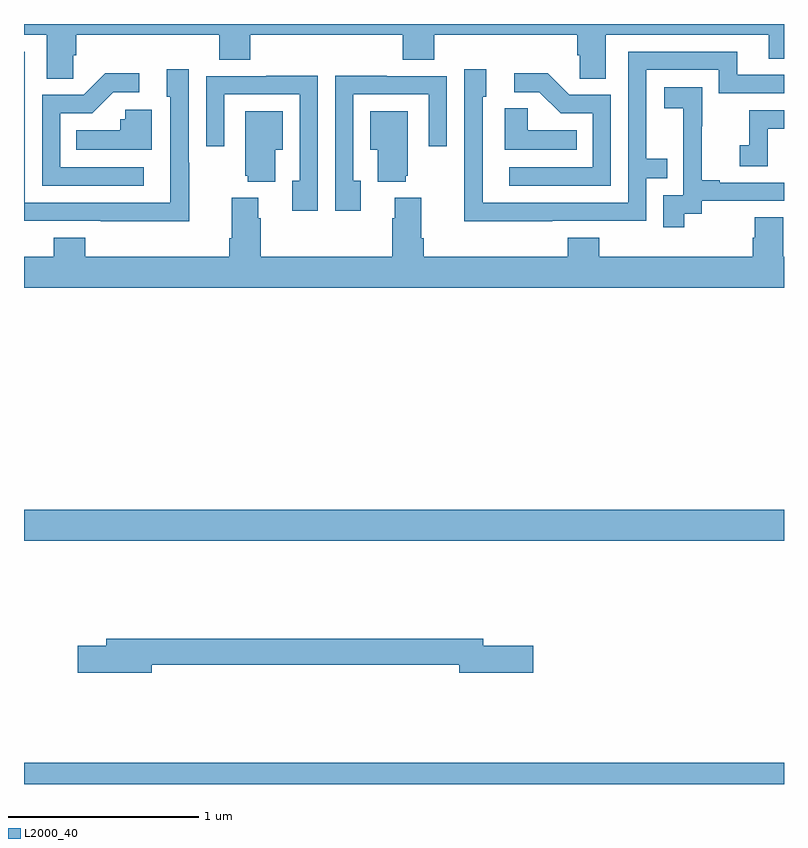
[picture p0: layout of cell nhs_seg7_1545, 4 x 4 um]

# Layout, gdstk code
import gdstk
lib = gdstk.Library(unit=1e-6, precision=1e-09)
def R(c, l, rs):  # rectangles x0, y0, x1, y1
    for r in rs: c.add(gdstk.rectangle(r[:2], r[2:], *l))
def P(c, l, *ps):  # polygons
    for p in ps: c.add(gdstk.Polygon(p, *l))
L2000_40 = (2000, 40)

nhs_seg7_1545 = lib.new_cell('nhs_seg7_1545')
R(nhs_seg7_1545, L2000_40, [(217,1002,221,1002.112), (217,1003.28,221,1003.444)])
P(nhs_seg7_1545, L2000_40, [(220.919,1005.817),(221,1005.817),(221,1006),(217,1006),(217,1005.944),(217.121,1005.944),(217.121,1005.712),(217.26,1005.712),(217.26,1005.835),(217.274,1005.835),(217.274,1005.944),(218.027,1005.944),(218.027,1005.811),(218.192,1005.811),(218.192,1005.944),(218.993,1005.944),(218.993,1005.811),(219.158,1005.811),(219.158,1005.944),(219.911,1005.944),(219.911,1005.835),(219.924,1005.835),(219.924,1005.712),(220.063,1005.712),(220.063,1005.944),(220.919,1005.944)],
  [(219.779,1004.964),(220.275,1004.964),(220.275,1005.189),(220.385,1005.189),(220.385,1005.29),(220.275,1005.29),(220.275,1005.759),(220.656,1005.759),(220.656,1005.636),(221,1005.636),(221,1005.732),(220.753,1005.732),(220.753,1005.855),(220.179,1005.855),(220.179,1005.06),(219.414,1005.06),(219.414,1005.618),(219.433,1005.618),(219.433,1005.763),(219.318,1005.763),(219.318,1005.269),(219.316,1005.269),(219.316,1004.963),(219.779,1004.963)],
  [(217.869,1005.269),(217.866,1005.269),(217.866,1005.763),(217.751,1005.763),(217.751,1005.618),(217.77,1005.618),(217.77,1005.284),(217.769,1005.284),(217.769,1005.06),(217.005,1005.06),(217.005,1005.855),(217,1005.855),(217,1004.964),(217.405,1004.964),(217.405,1004.963),(217.869,1004.963)],
  [(220.089,1005.627),(219.87,1005.627),(219.757,1005.74),(219.579,1005.74),(219.579,1005.642),(219.713,1005.642),(219.824,1005.531),(219.993,1005.531),(219.993,1005.246),(219.555,1005.246),(219.555,1005.15),(220.089,1005.15)],
  [(217.63,1005.246),(217.191,1005.246),(217.191,1005.531),(217.36,1005.531),(217.471,1005.642),(217.606,1005.642),(217.606,1005.74),(217.427,1005.74),(217.314,1005.627),(217.095,1005.627),(217.095,1005.15),(217.63,1005.15)],
  [(218.773,1005.174),(218.733,1005.174),(218.733,1005.63),(219.129,1005.63),(219.129,1005.357),(219.225,1005.357),(219.225,1005.726),(218.909,1005.726),(218.909,1005.728),(218.637,1005.728),(218.637,1005.018),(218.773,1005.018)],
  [(218.547,1005.728),(218.275,1005.728),(218.275,1005.726),(217.959,1005.726),(217.959,1005.357),(218.055,1005.357),(218.055,1005.63),(218.451,1005.63),(218.451,1005.174),(218.411,1005.174),(218.411,1005.018),(218.547,1005.018)],
  [(220.474,1005.001),(220.566,1005.001),(220.566,1005.069),(221,1005.069),(221,1005.165),(220.663,1005.165),(220.663,1005.178),(220.568,1005.178),(220.568,1005.461),(220.569,1005.461),(220.569,1005.667),(220.371,1005.667),(220.371,1005.557),(220.469,1005.557),(220.469,1005.329),(220.47,1005.329),(220.47,1005.099),(220.365,1005.099),(220.365,1004.931),(220.474,1004.931)],
  [(219.908,1005.442),(219.651,1005.442),(219.651,1005.557),(219.53,1005.557),(219.53,1005.338),(219.908,1005.338)],
  [(217.672,1005.55),(217.533,1005.55),(217.533,1005.498),(217.507,1005.498),(217.507,1005.442),(217.276,1005.442),(217.276,1005.338),(217.672,1005.338)],
  [(220.914,1005.45),(221,1005.45),(221,1005.546),(220.816,1005.546),(220.816,1005.361),(220.767,1005.361),(220.767,1005.252),(220.914,1005.252)],
  [(218.323,1005.338),(218.362,1005.338),(218.362,1005.541),(218.165,1005.541),(218.165,1005.201),(218.177,1005.201),(218.177,1005.17),(218.323,1005.17)],
  [(219.008,1005.201),(219.019,1005.201),(219.019,1005.541),(218.822,1005.541),(218.822,1005.338),(218.861,1005.338),(218.861,1005.17),(219.008,1005.17)],
  [(217.157,1004.875),(217.157,1004.776),(217,1004.776),(217,1004.612),(221,1004.612),(221,1004.776),(220.995,1004.776),(220.995,1004.984),(220.847,1004.984),(220.847,1004.874),(220.835,1004.874),(220.835,1004.776),(220.028,1004.776),(220.028,1004.875),(219.863,1004.875),(219.863,1004.776),(219.104,1004.776),(219.104,1004.872),(219.091,1004.872),(219.091,1005.085),(218.951,1005.085),(218.951,1004.978),(218.939,1004.978),(218.939,1004.776),(218.246,1004.776),(218.246,1004.978),(218.233,1004.978),(218.233,1005.085),(218.093,1005.085),(218.093,1004.872),(218.081,1004.872),(218.081,1004.776),(217.322,1004.776),(217.322,1004.875)],
  [(217.672,1002.628),(219.29,1002.628),(219.29,1002.586),(219.679,1002.586),(219.679,1002.728),(219.418,1002.728),(219.418,1002.764),(217.433,1002.764),(217.433,1002.728),(217.284,1002.728),(217.284,1002.586),(217.672,1002.586)])

lib.write_gds('nhs_seg7_1545.gds')
